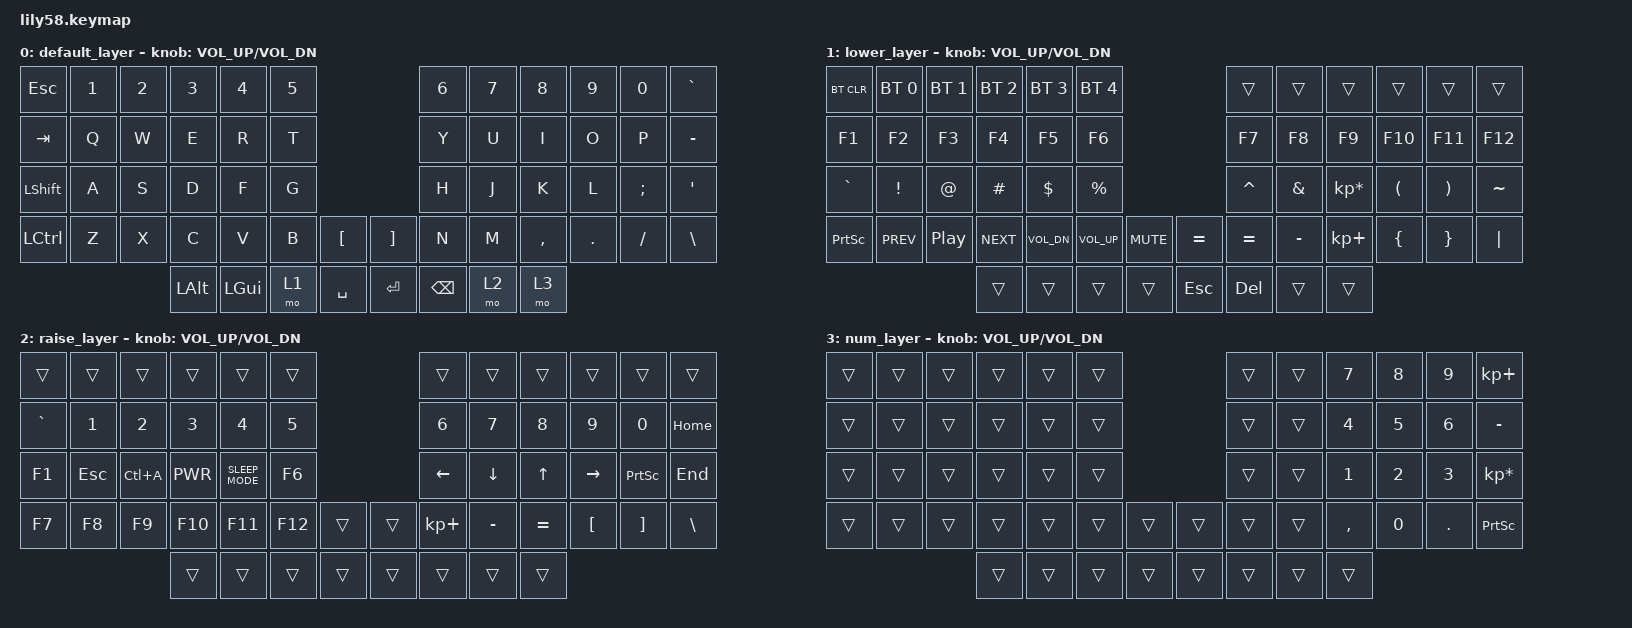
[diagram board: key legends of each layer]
/*
 * Copyright (c) 2020 The ZMK Contributors
 *
 * SPDX-License-Identifier: MIT
 */

#include <behaviors.dtsi>
#include <dt-bindings/zmk/keys.h>
#include <dt-bindings/zmk/bt.h>
#include <dt-bindings/zmk/ext_power.h>

/ {
    keymap {
        compatible = "zmk,keymap";

        default_layer {
// ------------------------------------------------------------------------------------------------------------
// |  ESC  |  1  |  2  |  3   |  4   |  5   |                   |  6   |  7    |  8    |  9   |   0   |   `   |
// |  TAB  |  Q  |  W  |  E   |  R   |  T   |                   |  Y   |  U    |  I    |  O   |   P   |   -   |
// | SHIFT |  A  |  S  |  D   |  F   |  G   |                   |  H   |  J    |  K    |  L   |   ;   |   '   |
// |  CTRL |  Z  |  X  |  C   |  V   |  B   |   "["  |  |  "]"  |  N   |  M    |  ,    |  .   |   /   |   \   |
//                     | ALT  | GUI  | LOWER|  SPACE |  | ENTER | BSPC | RAISE  | NUM |
            bindings = <
&kp ESC   &kp N1 &kp N2 &kp N3   &kp N4   &kp N5                     &kp N6 &kp N7   &kp N8    &kp N9  &kp N0   &kp GRAVE
&kp TAB   &kp Q  &kp W  &kp E    &kp R    &kp T                      &kp Y  &kp U    &kp I     &kp O   &kp P    &kp MINUS
&kp LSHIFT &kp A  &kp S  &kp D    &kp F    &kp G                      &kp H  &kp J    &kp K     &kp L   &kp SEMI &kp SQT
&kp LCTRL &kp Z  &kp X  &kp C    &kp V    &kp B  &kp LBKT   &kp RBKT &kp N  &kp M    &kp COMMA &kp DOT &kp FSLH &kp BSLH
                        &kp LALT &kp LGUI &mo 1  &kp SPACE  &kp RET  &kp BSPC &mo 2 &mo 3
            >;

            sensor-bindings = <&inc_dec_kp C_VOL_UP C_VOL_DN>;
        };

        lower_layer {
// ------------------------------------------------------------------------------------------------------------
// | BTCLR | BT1 | BT2 |  BT3 |  BT4 |  BT5 |                   |      |       |       |      |       |       |
// |  F1   |  F2 |  F3 |  F4  |  F5  |  F6  |                   |  F7  |  F8   |  F9   |  F10 |  F11  |  F12  |
// |   `   |  !  |  @  |  #   |  $   |  %   |                   |  ^   |  &    |  *    |  (   |   )   |   ~   |
// | PRSCRN |  prv  | ply | nxt | vol-  | vol+ |  mute   |    |  =    |      |  _    |  +    |  {   |   }   |  "|"  |
//                     |      |      |      |        |  |  ESC  | DEL  |       |       |
            bindings = <
&bt BT_CLR &bt BT_SEL 0     &bt BT_SEL 1      &bt BT_SEL 2      &bt BT_SEL 3 &bt BT_SEL 4                 &trans    &trans    &trans          &trans    &trans    &trans
&kp F1     &kp F2           &kp F3            &kp F4            &kp F5       &kp F6                       &kp F7    &kp F8    &kp F9          &kp F10   &kp F11   &kp F12
&kp GRAVE  &kp EXCL         &kp AT            &kp HASH          &kp DOLLAR   &kp PRCNT                    &kp CARET &kp AMPS  &kp KP_MULTIPLY &kp LPAR  &kp RPAR  &kp TILDE
&kp PSCRN  &kp C_PREV       &kp C_PP          &kp C_NEXT       &kp C_VOL_DN  &kp C_VOL_UP   &kp C_MUTE &kp EQUAL   &kp EQUAL    &kp MINUS &kp KP_PLUS     &kp LBRC  &kp RBRC  &kp PIPE
                                              &trans            &trans       &trans    &trans   &kp ESC    &kp DEL    &trans    &trans
            >;

            sensor-bindings = <&inc_dec_kp C_VOL_UP C_VOL_DN>;
        };

        raise_layer {
// ------------------------------------------------------------------------------------------------------------
// |       |     |     |      |      |      |                   |      |       |       |      |       |       |
// |   `   |  1  |  2  |  3   |  4   |  5   |                   |  6   |   7   |   8   |  9   |   0   |  HOME |
// |   F1  | ESC |CTL+A|  F4  |  F5  |  F6  |                   |   <-  |   v   |  ^   |  ->  |  PSCRN  |  END  |
// |   F7  |  F8 |  F9 |  F10 |  F11 |  F12 |        |  |       |  +   |   -   |   =   |  [   |   ]   |   \   |
//                     |      |      |      |        |  |       |      |       |       |
            bindings = <
&trans    &trans &trans &trans  &trans  &trans                       &trans      &trans    &trans    &trans   &trans    &trans
&kp GRAVE &kp N1 &kp N2 &kp N3  &kp N4  &kp N5                       &kp N6      &kp N7    &kp N8    &kp N9   &kp N0    &kp HOME
&kp F1    &kp ESC &kp LC(A) &kp C_PWR &kp C_SLEEP_MODE  &kp F6                       &kp LEFT    &kp DOWN  &kp UP    &kp RIGHT &kp PSCRN &kp END
&kp F7    &kp F8 &kp F9 &kp F10 &kp F11 &kp F12   &trans   &trans    &kp KP_PLUS &kp MINUS &kp EQUAL &kp LBKT &kp RBKT  &kp BSLH
                        &trans  &trans  &trans    &trans   &trans    &trans      &trans    &trans
            >;

            sensor-bindings = <&inc_dec_kp C_VOL_UP C_VOL_DN>;
        };
        
        num_layer {
// ------------------------------------------------------------------------------------------------------------
// |       |     |     |      |      |      |                   |      |       |   7   |   8   |   9   |   +   |
// |       |     |     |      |      |      |                   |      |       |   4   |   5   |   6   |   -   |
// |       |     |     |      |      |      |                   |      |       |   1   |   2   |   3   |   *   |       
// |       |     |     |      |      |      |                   |      |       |   ,   |   0   |   .   |   PRSCRN   |         
//                     |      |      |      |        |  |       |      |       |       |

            bindings = <
&trans    &trans &trans &trans  &trans  &trans                       &trans      &trans    &kp N7   &kp N8    &kp N9    &kp KP_PLUS
&trans    &trans &trans &trans  &trans  &trans                       &trans      &trans    &kp N4   &kp N5    &kp N6    &kp MINUS
&trans    &trans &trans &trans  &trans  &trans                       &trans      &trans    &kp N1   &kp N2    &kp N3    &kp KP_MULTIPLY
&trans    &trans &trans &trans  &trans  &trans    &trans   &trans    &trans      &trans   &kp COMMA &kp N0    &kp DOT   &kp PSCRN
                        &trans  &trans  &trans    &trans   &trans    &trans      &trans    &trans
            >;
            sensor-bindings = <&inc_dec_kp C_VOL_UP C_VOL_DN>;
        };
    };
};
